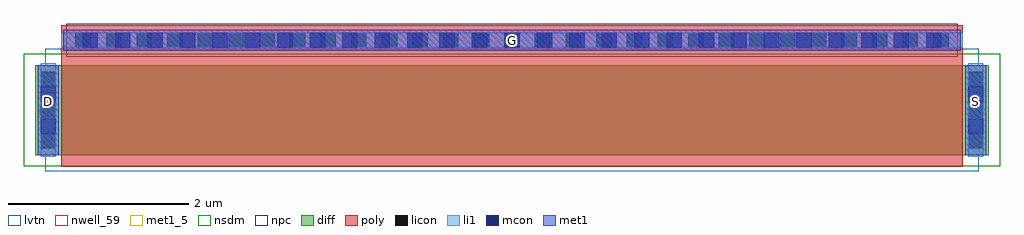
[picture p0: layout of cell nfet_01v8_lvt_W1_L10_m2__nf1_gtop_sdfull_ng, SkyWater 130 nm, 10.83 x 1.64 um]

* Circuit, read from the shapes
.subckt nfet_01v8_lvt_W1_L10_m2__nf1_gtop_sdfull_ng B D G S
XM1 S G D B sky130_fd_pr__nfet_01v8_lvt w=1 l=10
.ends

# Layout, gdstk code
import gdstk
lib = gdstk.Library(unit=1e-6, precision=1e-09)
def R(c, l, rs):  # rectangles x0, y0, x1, y1
    for r in rs: c.add(gdstk.rectangle(r[:2], r[2:], *l))
def A(c, l, x, y, w, h, nx, ny, dx, dy):  # array of equal rectangles
    R(c, l, [(x+i*dx, y+j*dy, x+i*dx+w, y+j*dy+h) for i in range(nx) for j in range(ny)])
nwell_59 = (64, 59)
diff = (65, 20)
poly = (66, 20)
licon = (66, 44)
li1 = (67, 20)
mcon = (67, 44)
met1_5 = (68, 5)
met1 = (68, 20)
nsdm = (93, 44)
npc = (95, 20)
lvtn = (125, 44)

sky130_fd_pr__nfet_01v8_ = lib.new_cell('sky130_fd_pr__nfet_01v8_lvt_HKBZJU')
R(sky130_fd_pr__nfet_01v8_, diff, [(-5.29,-0.655,5.29,0.345)])
R(sky130_fd_pr__nfet_01v8_, poly, [(-5,-0.785,5,0.785)])
A(sky130_fd_pr__nfet_01v8_, licon, -5.23, -0.58, 0.17, 0.17, 1, 3, 0, 0.34)
A(sky130_fd_pr__nfet_01v8_, licon, 5.06, -0.58, 0.17, 0.17, 1, 3, 0, 0.34)
A(sky130_fd_pr__nfet_01v8_, licon, -4.845, 0.535, 0.17, 0.17, 29, 1, 0.34, 0)
R(sky130_fd_pr__nfet_01v8_, li1, [(-5.23,-0.675,-5.06,0.365), (5.06,-0.675,5.23,0.365), (-5,0.535,5,0.705)])
A(sky130_fd_pr__nfet_01v8_, mcon, -4.765, 0.535, 0.17, 0.17, 27, 1, 0.36, 0)
R(sky130_fd_pr__nfet_01v8_, mcon, [(-5.23,-0.42,-5.06,-0.25), (5.06,-0.42,5.23,-0.25), (-5.23,-0.06,-5.06,0.11), (5.06,-0.06,5.23,0.11)])
R(sky130_fd_pr__nfet_01v8_, met1, [(-5.26,-0.655,-5.03,0.345), (5.03,-0.655,5.26,0.345), (-4.98,0.505,4.98,0.735)])
R(sky130_fd_pr__nfet_01v8_, nsdm, [(-5.415,-0.78,5.415,0.47)])
R(sky130_fd_pr__nfet_01v8_, npc, [(-4.945,0.435,4.945,0.805)])
R(sky130_fd_pr__nfet_01v8_, lvtn, [(-5.18,-0.835,5.18,0.525)])
sky130_fd_pr__nfet_01v8_.add(gdstk.Label('D', (-5.145,-0.155), layer=67, texttype=5))
sky130_fd_pr__nfet_01v8_.add(gdstk.Label('S', (5.145,-0.155), layer=67, texttype=5))
sky130_fd_pr__nfet_01v8_.add(gdstk.Label('G', (0,0.62), layer=67, texttype=5))

nfet_01v8_lvt_w1_l10_m2_ = lib.new_cell('nfet_01v8_lvt_W1_L10_m2__nf1_gtop_sdfull_ng')
R(nfet_01v8_lvt_w1_l10_m2_, nwell_59, [(0.05,0.58,0.15,0.68)])
R(nfet_01v8_lvt_w1_l10_m2_, met1_5, [(0.03,0.63,0.26,0.83), (10.32,0.63,10.55,0.83), (0.31,1.29,10.27,1.52)])
R(nfet_01v8_lvt_w1_l10_m2_, met1, [(0.03,0.63,0.26,0.83), (10.32,0.63,10.55,0.83), (0.31,1.29,10.27,1.52)])
nfet_01v8_lvt_w1_l10_m2_.add(gdstk.Reference(sky130_fd_pr__nfet_01v8_, (5.29,0.785)))
nfet_01v8_lvt_w1_l10_m2_.add(gdstk.Label('D', (0.145,0.73), layer=68, texttype=5))
nfet_01v8_lvt_w1_l10_m2_.add(gdstk.Label('S', (10.435,0.73), layer=68, texttype=5))
nfet_01v8_lvt_w1_l10_m2_.add(gdstk.Label('G', (5.29,1.405), layer=68, texttype=5))
nfet_01v8_lvt_w1_l10_m2_.add(gdstk.Label('B', (0.1,0.63), layer=64, texttype=59))

lib.write_gds('nfet_01v8_lvt_W1_L10_m2__nf1_gtop_sdfull_ng.gds')
